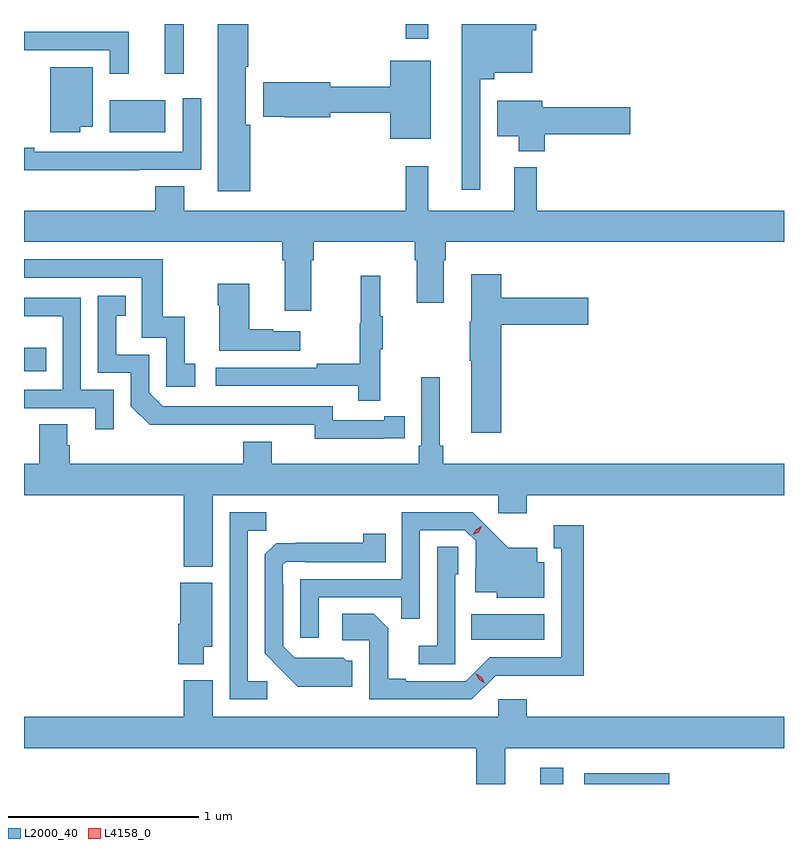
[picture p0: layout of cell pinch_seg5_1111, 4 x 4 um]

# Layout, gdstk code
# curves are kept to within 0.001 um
import gdstk
lib = gdstk.Library(unit=1e-6, precision=1e-09)
def R(c, l, rs):  # rectangles x0, y0, x1, y1
    for r in rs: c.add(gdstk.rectangle(r[:2], r[2:], *l))
def P(c, l, *ps):  # polygons
    for p in ps: c.add(gdstk.Polygon(p, *l))
L2000_40 = (2000, 40)
L4158_0 = (4158, 0)

pinch_seg5_1111 = lib.new_cell('pinch_seg5_1111')
R(pinch_seg5_1111, L2000_40, [(780.197,840.587,780.319,840.673), (780.429,840.587,780.877,840.643), (779.836,841.346,780.22,841.48), (777.481,842.76,777.599,842.883), (777.932,844.016,778.225,844.186), (778.223,844.326,778.322,844.587), (779.491,844.509,779.608,844.587)])
P(pinch_seg5_1111, L2000_40, [(778.673,843.956),(778.671,843.956),(778.671,844.056),(778.648,844.056),(778.648,844.363),(778.661,844.363),(778.661,844.587),(778.502,844.587),(778.502,843.708),(778.673,843.708)],
  [(779.883,844.295),(779.957,844.295),(779.957,844.331),(780.156,844.331),(780.156,844.553),(780.176,844.553),(780.176,844.587),(779.786,844.587),(779.786,843.714),(779.883,843.714)],
  [(778.031,844.545),(777.481,844.545),(777.481,844.449),(777.933,844.449),(777.933,844.326),(778.031,844.326)],
  [(779.623,844.393),(779.408,844.393),(779.408,844.256),(779.092,844.256),(779.092,844.28),(778.74,844.28),(778.74,844.099),(778.852,844.099),(778.852,844.097),(779.092,844.097),(779.092,844.12),(779.408,844.12),(779.408,843.983),(779.623,843.983)],
  [(777.778,844.046),(777.844,844.046),(777.844,844.36),(777.62,844.36),(777.62,844.016),(777.778,844.016)],
  [(778.088,843.819),(778.413,843.819),(778.413,844.195),(778.317,844.195),(778.317,843.915),(777.535,843.915),(777.535,843.935),(777.481,843.935),(777.481,843.818),(778.088,843.818)],
  [(780.221,844.006),(780.673,844.006),(780.673,844.148),(780.208,844.148),(780.208,844.183),(779.972,844.183),(779.972,843.995),(780.086,843.995),(780.086,843.917),(780.221,843.917)],
  [(778.993,843.344),(779.006,843.344),(779.006,843.44),(779.537,843.44),(779.537,843.344),(779.549,843.344),(779.549,843.12),(779.689,843.12),(779.689,843.344),(779.702,843.344),(779.702,843.44),(781.481,843.44),(781.481,843.604),(780.179,843.604),(780.179,843.832),(780.062,843.832),(780.062,843.604),(779.609,843.604),(779.609,843.838),(779.491,843.838),(779.491,843.604),(778.324,843.604),(778.324,843.734),(778.172,843.734),(778.172,843.604),(777.481,843.604),(777.481,843.44),(778.841,843.44),(778.841,843.344),(778.853,843.344),(778.853,843.078),(778.993,843.078)],
  [(778.381,842.799),(778.328,842.799),(778.328,843.046),(778.21,843.046),(778.21,843.348),(777.481,843.348),(777.481,843.252),(778.101,843.252),(778.101,842.937),(778.23,842.937),(778.23,842.679),(778.381,842.679)],
  [(779.993,843.005),(780.451,843.005),(780.451,843.147),(779.993,843.147),(779.993,843.271),(779.834,843.271),(779.834,843.021),(779.827,843.021),(779.827,842.815),(779.834,842.815),(779.834,842.436),(779.993,842.436)],
  [(779.357,842.875),(779.368,842.875),(779.368,843.049),(779.357,843.049),(779.357,843.262),(779.254,843.262),(779.254,843.012),(779.247,843.012),(779.247,842.798),(779.023,842.798),(779.023,842.778),(778.491,842.778),(778.491,842.682),(779.239,842.682),(779.239,842.604),(779.357,842.604)],
  [(778.936,842.971),(778.793,842.971),(778.793,842.981),(778.666,842.981),(778.666,843.22),(778.501,843.22),(778.501,843.107),(778.508,843.107),(778.508,842.867),(778.936,842.867)],
  [(779.378,842.406),(779.486,842.406),(779.486,842.522),(779.378,842.522),(779.378,842.502),(779.106,842.502),(779.106,842.574),(778.212,842.574),(778.14,842.646),(778.14,842.847),(777.967,842.847),(777.967,843.051),(778.016,843.051),(778.016,843.157),(777.87,843.157),(777.87,842.751),(778.044,842.751),(778.044,842.574),(778.142,842.477),(779.01,842.478),(779.01,842.405)],
  [(777.954,842.661),(777.78,842.661),(777.78,843.147),(777.481,843.147),(777.481,843.05),(777.684,843.05),(777.684,842.661),(777.481,842.661),(777.481,842.565),(777.857,842.565),(777.857,842.454),(777.954,842.454)],
  [(778.474,842.108),(779.976,842.108),(779.976,842.013),(780.128,842.013),(780.128,842.108),(781.481,842.108),(781.481,842.272),(779.687,842.272),(779.687,842.368),(779.668,842.368),(779.668,842.728),(779.571,842.728),(779.571,842.368),(779.558,842.368),(779.558,842.272),(778.786,842.272),(778.786,842.389),(778.634,842.389),(778.634,842.272),(777.722,842.272),(777.722,842.37),(777.709,842.37),(777.709,842.48),(777.562,842.48),(777.562,842.272),(777.481,842.272),(777.481,842.108),(778.322,842.108),(778.322,841.73),(778.474,841.73)],
  [(778.762,841.128),(778.659,841.128),(778.659,841.921),(778.755,841.921),(778.755,842.016),(778.563,842.016),(778.563,841.032),(778.762,841.032)],
  [(779.031,841.569),(779.467,841.569),(779.467,841.456),(779.565,841.456),(779.565,841.923),(779.802,841.923),(779.859,841.866),(779.859,841.724),(779.855,841.724),(779.855,841.595),(779.97,841.595),(779.97,841.568),(780.22,841.568),(780.22,841.753),(780.181,841.753),(780.181,841.831),(780.029,841.831),(779.842,842.016),(779.469,842.016),(779.469,841.665),(778.935,841.665),(778.935,841.356),(779.031,841.356)],
  [(779.964,841.158),(780.427,841.157),(780.427,841.948),(780.269,841.948),(780.269,841.827),(780.308,841.827),(780.308,841.254),(779.931,841.254),(779.805,841.128),(779.491,841.128),(779.491,841.141),(779.397,841.141),(779.397,841.408),(779.321,841.484),(779.157,841.484),(779.157,841.344),(779.298,841.344),(779.298,841.032),(779.838,841.032)],
  [(779.209,841.236),(779.178,841.236),(779.162,841.252),(778.905,841.251),(778.845,841.311),(778.845,841.64),(778.842,841.64),(778.842,841.74),(778.86,841.758),(778.96,841.758),(778.96,841.755),(779.384,841.755),(779.384,841.903),(779.266,841.903),(779.266,841.856),(778.808,841.855),(778.749,841.796),(778.749,841.274),(778.921,841.1),(779.209,841.1)],
  [(779.751,841.692),(779.766,841.692),(779.766,841.835),(779.655,841.835),(779.655,841.315),(779.559,841.315),(779.559,841.218),(779.751,841.218)],
  [(778.426,841.31),(778.471,841.31),(778.471,841.645),(778.304,841.645),(778.304,841.431),(778.292,841.431),(778.292,841.217),(778.426,841.217)],
  [(780.013,840.776),(781.481,840.776),(781.481,840.94),(780.128,840.94),(780.128,841.033),(779.976,841.033),(779.976,840.94),(778.474,840.94),(778.474,841.132),(778.322,841.132),(778.322,840.94),(777.481,840.94),(777.481,840.776),(779.861,840.776),(779.861,840.587),(780.013,840.587)])
P(pinch_seg5_1111, L4158_0, [(779.907,841.116),(779.876,841.136),(779.859,841.168),(779.859,841.169),(779.859,841.169),(779.89,841.149),(779.907,841.116),(779.907,841.116)],
  [(779.843,841.898),(779.843,841.898),(779.86,841.928),(779.891,841.944),(779.891,841.944),(779.891,841.943),(779.874,841.913),(779.843,841.898)])

lib.write_gds('pinch_seg5_1111.gds')
